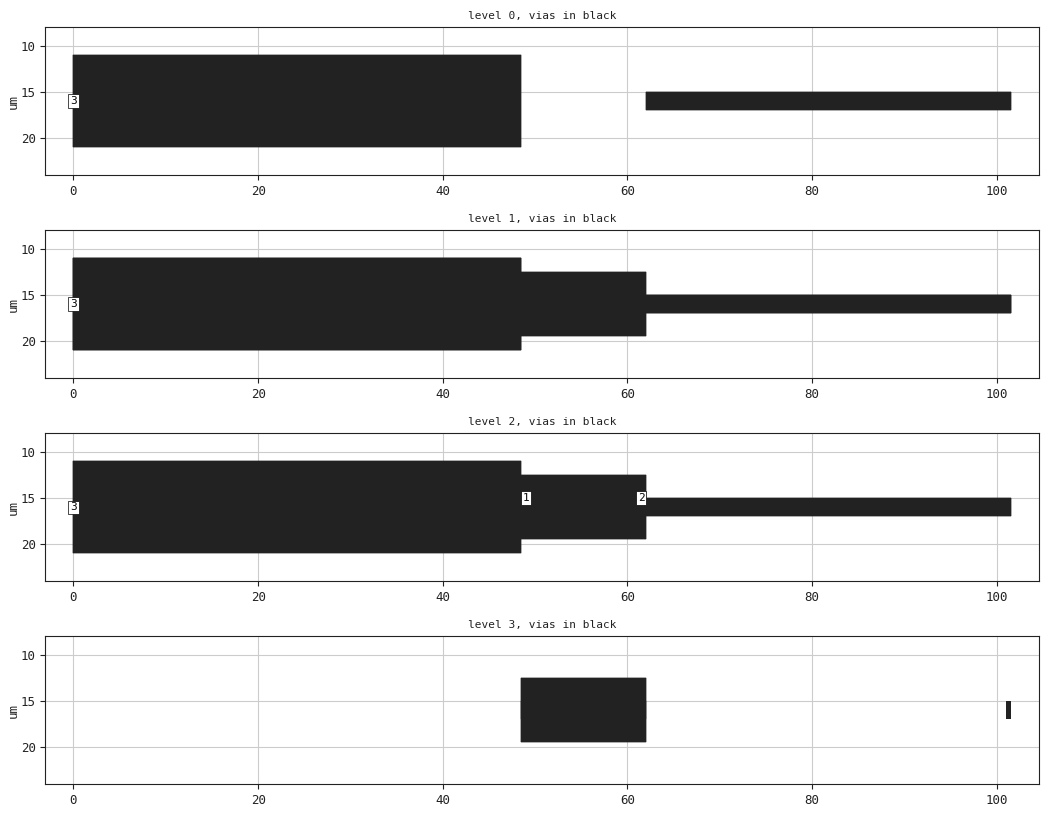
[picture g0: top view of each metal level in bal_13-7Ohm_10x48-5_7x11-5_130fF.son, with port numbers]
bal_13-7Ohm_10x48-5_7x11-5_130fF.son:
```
FTYP SONPROJ 1 ! Sonnet Project File
VER 9.52
HEADER
LIC cambridge1.11268
DAT 03/23/2004 13:47:45
MDATE 03/23/2004 13:47:26
HDATE 03/23/2004 13:47:26
END HEADER
DIM
FREQ GHZ
IND NH
LNG UM
ANG DEG
CON /OH
CAP PF
RES OH
END DIM
FREQ
ABS 300.0 900.0 
END FREQ
CONTROL
ABS
OPTIONS  -dj 
SPEED 0
CACHE_ABS 1
TARG_ABS 300
END CONTROL
GEO
SYM
TMET "Free Space" 0 FREESPACE 376.7303136 0 0 0
BMET "Nb (low Freq) 2.5K" 1 SUP 0 0 0 0.139
MET "Nb (low Freq) 2.5K" 1 SUP 0 0 0 0.139
BOX 4 128 32 512 128 20 0
      100 1 1 0 0 0 2 "Unnamed"
      0.2 1 1 0 0 0 2 "Unnamed"
      0.2 1 1 0 0 0 2 "Unnamed"
      0.22 5.8 1 0.0004 0 0 2 "SiO"
      0.2 5.8 1 0.0004 0 0 2 "SiO"
POR1 STD
POLY 11 1
3
3 13.7 0 0 0 0 16 
POR1 STD
POLY 14 1
3
3 13.7 0 0 0 0 16 
POR1 STD
POLY 42 1
3
3 13.7 0 0 0 0 16 
POR1 STD
POLY 48 1
0
2 13.7 0 0 1.3e-13 61.5 15 
POR1 STD
POLY 50 1
0
1 13.7 0 0 1.3e-13 49 15 
NUM 18
0 5 0 N 10 1 1 100 100 0 0 0 Y
62 15
101.5 15
101.5 17
62 17
62 15
END
0 5 0 N 11 1 1 100 100 0 0 0 Y
0 11
48.5 11
48.5 21
0 21
0 11
END
1 5 0 N 14 1 1 100 100 0 0 0 Y
0 11
48.5 11
48.5 21
0 21
0 11
END
1 5 0 N 16 1 1 100 100 0 0 0 Y
48.5 12.5
62 12.5
62 19.5
48.5 19.5
48.5 12.5
END
1 5 0 N 17 1 1 100 100 0 0 0 Y
62 15
101.5 15
101.5 17
62 17
62 15
END
VIA POLYGON
1 5 0 N 19 1 1 100 100 0 0 0 Y
TOLEVEL 0
62 15
101.5 15
101.5 17
62 17
62 15
END
VIA POLYGON
1 5 0 N 20 1 1 100 100 0 0 0 Y
TOLEVEL 0
0 11
48.5 11
48.5 21
0 21
0 11
END
2 5 0 N 42 1 1 100 100 0 0 0 Y
0 11
48.5 11
48.5 21
0 21
0 11
END
VIA POLYGON
2 5 0 N 43 1 1 100 100 0 0 0 Y
TOLEVEL 1
0 11
48.5 11
48.5 21
0 21
0 11
END
2 5 0 N 45 1 1 100 100 0 0 0 Y
62 15
101.5 15
101.5 17
62 17
62 15
END
2 5 0 N 46 1 1 100 100 0 0 0 Y
48.5 12.5
62 12.5
62 19.5
48.5 19.5
48.5 12.5
END
VIA POLYGON
2 5 0 N 53 1 1 100 100 0 0 0 Y
TOLEVEL 1
62 15
101.5 15
101.5 17
62 17
62 15
END
VIA POLYGON
3 5 0 N 22 1 1 100 100 0 0 0 Y
TOLEVEL 1
101 15
101.5 15
101.5 17
101 17
101 15
END
VIA POLYGON
3 5 0 N 35 1 1 100 100 0 0 0 Y
TOLEVEL 1
48.5 12.5
62 12.5
62 19.5
48.5 19.5
48.5 12.5
END
3 5 0 N 40 1 1 100 100 0 0 0 Y
48.5 12.5
62 12.5
62 19.5
48.5 19.5
48.5 12.5
END
VIA POLYGON
4 5 0 N 48 1 1 100 100 0 0 0 Y
TOLEVEL 2
61 15
62 15
62 17
61 17
61 15
END
VIA POLYGON
4 5 0 N 50 1 1 100 100 0 0 0 Y
TOLEVEL 2
48.5 15
49.5 15
49.5 17
48.5 17
48.5 15
END
VIA POLYGON
4 5 0 N 55 1 1 100 100 0 0 0 Y
TOLEVEL 2
101 15
101.5 15
101.5 17
101 17
101 15
END
END GEO
OPT
MAX 100
VARS
END OPT
VARSWP
END VARSWP
QSG
IMPORT NO
EXTRA_METAL NO
UNITS NO
ALIGN NO
REF NO
VIEW_RES NO
METALS YES
USED YES
END QSG
```
